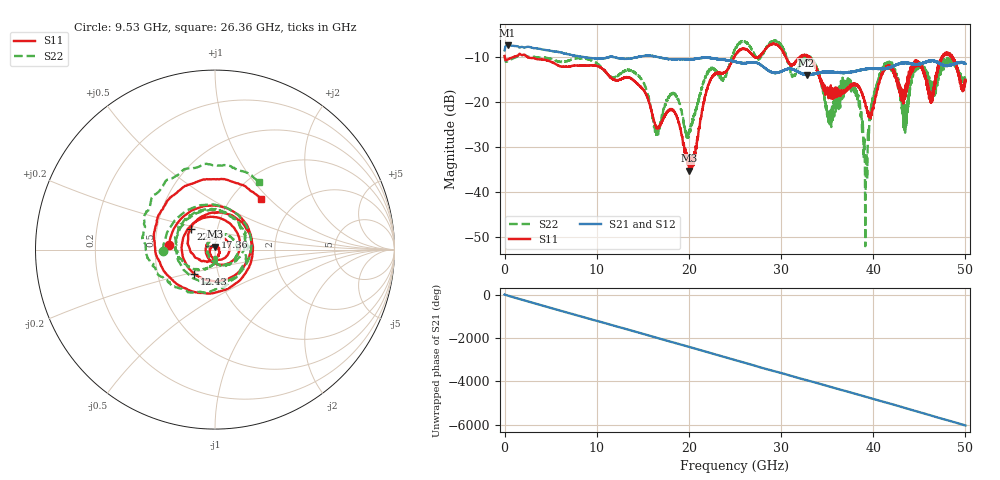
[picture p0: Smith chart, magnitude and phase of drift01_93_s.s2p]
!Created with skrf (http://scikit-rf.org).
# Hz S RI R 50.0
!freq ReS11 ImS11 ReS21 ImS21 ReS12 ImS12 ReS22 ImS22
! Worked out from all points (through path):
!   10001 points, 300 kHz to 50 GHz, reference 50 ohm
!   highest |S21| = -7.33 dB at 320.3 MHz (marker M1); lowest = -14.0 dB at 32.77 GHz (marker M2)
!   group delay of S21, straight-line fit = 335 ps
!   lowest |S11| = -35.2 dB at 20.01 GHz (marker M3), VSWR 1.04, Z = 49.8 + j1.72 ohm
!   |S11| at or under -10 dB: 2.552 GHz to 24.91 GHz (22.36 GHz wide, 163 % of centre); 30.52 GHz to 32.02 GHz (1.5 GHz wide, 4.8 % of centre); 33.06 GHz to 47.44 GHz (14.38 GHz wide, 35.7 % of centre) (the widest 3 of 20)
!   |S22| runs from -52.0 to -6.2 dB; largest |S21 - S12| = 0.01
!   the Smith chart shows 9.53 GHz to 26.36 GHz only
!   S11 on the Smith chart (normalised r, x): 9.53 GHz: 0.59, +0.03; 12.43 GHz: 0.77, -0.21; 17.36 GHz: 1.00, +0.14; 22.37 GHz: 0.74, +0.18; 26.36 GHz: 1.37, +0.89
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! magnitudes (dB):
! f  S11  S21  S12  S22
! 300 kHz  -9.7  -8.5  -8.5  -9.5
! 320.3 MHz  -10.5  -7.3  -7.3  -10.9
! 8.335 GHz  -11.8  -9.8  -9.9  -10.2
! 9.53 GHz  -11.8  -10.2  -10.2  -10.8
! 12.43 GHz  -15.0  -10.2  -10.2  -13.9
! 16.67 GHz  -25.8  -10.0  -10.0  -27.2
! 17.36 GHz  -23.2  -10.3  -10.3  -21.0
! 20.01 GHz  -35.2  -10.5  -10.5  -26.7
! 22.37 GHz  -14.9  -10.2  -10.1  -12.5
! 25 GHz  -9.6  -11.0  -11.0  -8.3
! 26.36 GHz  -8.4  -11.2  -11.2  -7.0
! 32.77 GHz  -9.7  -14.0  -13.9  -10.1
! 33.34 GHz  -10.7  -13.8  -13.8  -10.6
! 35.23 GHz  -17.5  -13.3  -13.2  -22.5
! 37.99 GHz  -15.9  -13.1  -13.1  -17.0
! 39.17 GHz  -20.7  -12.6  -12.6  -41.1
! 40.14 GHz  -20.1  -12.5  -12.5  -17.8
! 41.67 GHz  -12.1  -12.3  -12.4  -11.9
! 43.45 GHz  -17.5  -11.3  -11.2  -25.3
! 44.88 GHz  -11.1  -11.6  -11.6  -11.5
! 46.23 GHz  -20.0  -10.7  -10.7  -16.1
! 50 GHz  -15.3  -11.4  -11.3  -15.0
